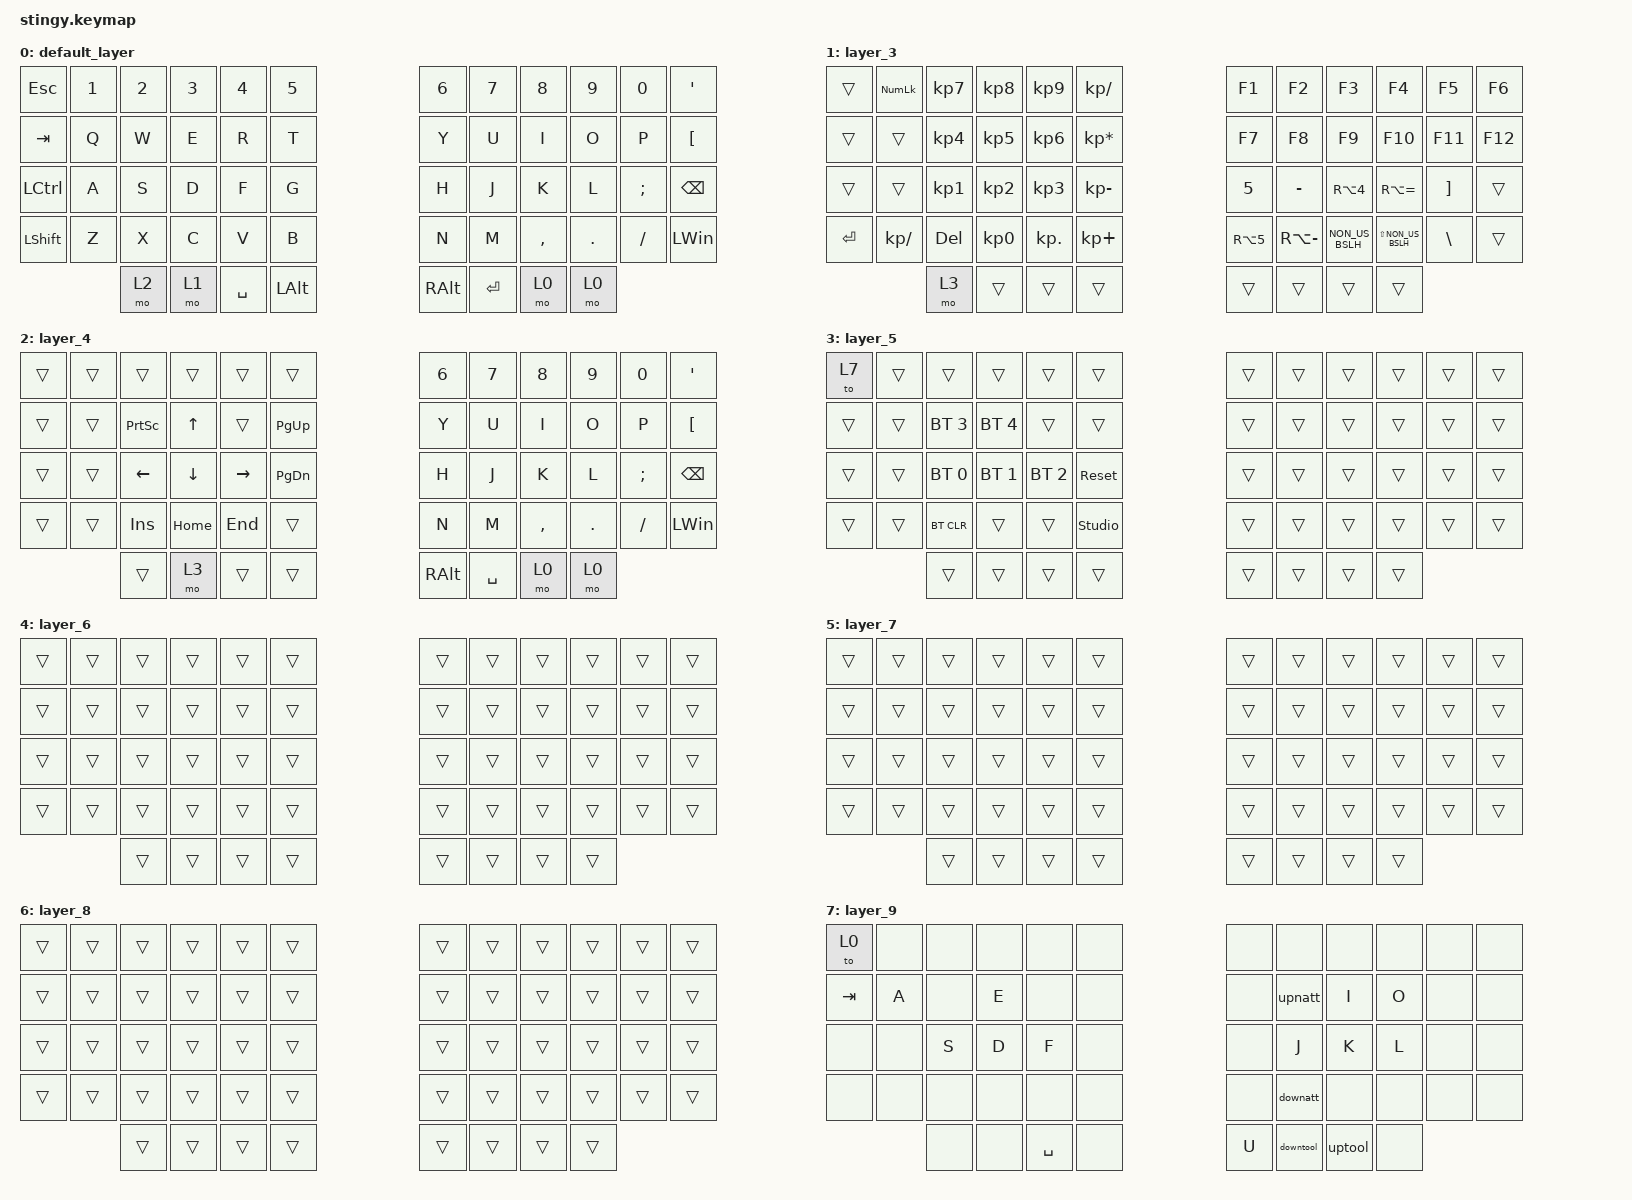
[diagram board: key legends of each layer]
#include <behaviors.dtsi>
#include <dt-bindings/zmk/bt.h>
#include <dt-bindings/zmk/keys.h>

/ {
    macros {
        uptool: uptool {
            compatible = "zmk,behavior-macro";
            #binding-cells = <0>;
            bindings = <&kp E &kp U>;
            label = "UPTOOL";
        };

        downtool: downtool {
            compatible = "zmk,behavior-macro";
            #binding-cells = <0>;
            bindings = <&kp D &kp O>;
            label = "DOWNTOOL";
        };

        upnatt: upatt {
            compatible = "zmk,behavior-macro";
            #binding-cells = <0>;
            bindings = <&kp E &kp J>;
            label = "DOWNATT";
        };

        downatt: downatt {
            compatible = "zmk,behavior-macro";
            #binding-cells = <0>;
            bindings = <&kp D &kp J>;
            label = "DOWNATT";
        };
    };

    keymap {
        compatible = "zmk,keymap";

        default_layer {
            bindings = <
&kp ESC           &kp N1  &kp N2  &kp N3  &kp N4     &kp N5      &kp N6    &kp N7     &kp N8     &kp N9   &kp N0         &kp SINGLE_QUOTE
&kp TAB           &kp Q   &kp W   &kp E   &kp R      &kp T       &kp Y     &kp U      &kp I      &kp O    &kp P          &kp LEFT_BRACKET
&kp LEFT_CONTROL  &kp A   &kp S   &kp D   &kp F      &kp G       &kp H     &kp J      &kp K      &kp L    &kp SEMICOLON  &kp BACKSPACE
&kp LEFT_SHIFT    &kp Z   &kp X   &kp C   &kp V      &kp B       &kp N     &kp M      &kp COMMA  &kp DOT  &kp SLASH      &kp LEFT_WIN
                          &mo 2   &mo 1   &kp SPACE  &kp LALT    &kp RALT  &kp ENTER  &mo 0      &mo 0
            >;
        };

        layer_3 {
            bindings = <
&trans     &kp KP_NUMLOCK  &kp KP_N7  &kp KP_N8  &kp KP_N9   &kp KP_DIVIDE      &kp F1      &kp F2         &kp F3            &kp F4               &kp F5             &kp F6
&trans     &trans          &kp KP_N4  &kp KP_N5  &kp KP_N6   &kp KP_MULTIPLY    &kp F7      &kp F8         &kp F9            &kp F10              &kp F11            &kp F12
&trans     &trans          &kp KP_N1  &kp KP_N2  &kp KP_N3   &kp KP_SUBTRACT    &kp N5      &kp MINUS      &kp RA(NUMBER_4)  &kp RA(EQUAL)        &kp RIGHT_BRACKET  &trans
&kp ENTER  &kp KP_SLASH    &kp DEL    &kp KP_N0  &kp KP_DOT  &kp KP_PLUS        &kp RA(N5)  &kp RA(MINUS)  &kp NON_US_BSLH   &kp LS(NON_US_BSLH)  &kp BACKSLASH      &trans
                           &mo 3      &trans     &trans      &trans             &trans      &trans         &trans            &trans
            >;
        };

        layer_4 {
            bindings = <
&trans  &trans  &trans           &trans        &trans     &trans           &kp N6    &kp N7     &kp N8     &kp N9   &kp N0         &kp SINGLE_QUOTE
&trans  &trans  &kp PRINTSCREEN  &kp UP_ARROW  &trans     &kp PAGE_UP      &kp Y     &kp U      &kp I      &kp O    &kp P          &kp LEFT_BRACKET
&trans  &trans  &kp LEFT         &kp DOWN      &kp RIGHT  &kp PAGE_DOWN    &kp H     &kp J      &kp K      &kp L    &kp SEMICOLON  &kp BACKSPACE
&trans  &trans  &kp INSERT       &kp HOME      &kp END    &trans           &kp N     &kp M      &kp COMMA  &kp DOT  &kp SLASH      &kp LEFT_WIN
                &trans           &mo 3         &trans     &trans           &kp RALT  &kp SPACE  &mo 0      &mo 0
            >;
        };

        layer_5 {
            bindings = <
&to 7   &trans  &trans        &trans        &trans        &trans            &trans  &trans  &trans  &trans  &trans  &trans
&trans  &trans  &bt BT_SEL 3  &bt BT_SEL 4  &trans        &trans            &trans  &trans  &trans  &trans  &trans  &trans
&trans  &trans  &bt BT_SEL 0  &bt BT_SEL 1  &bt BT_SEL 2  &sys_reset        &trans  &trans  &trans  &trans  &trans  &trans
&trans  &trans  &bt BT_CLR    &trans        &trans        &studio_unlock    &trans  &trans  &trans  &trans  &trans  &trans
                &trans        &trans        &trans        &trans            &trans  &trans  &trans  &trans
            >;
        };

        layer_6 {
            bindings = <
&trans  &trans  &trans  &trans  &trans  &trans    &trans  &trans  &trans  &trans  &trans  &trans
&trans  &trans  &trans  &trans  &trans  &trans    &trans  &trans  &trans  &trans  &trans  &trans
&trans  &trans  &trans  &trans  &trans  &trans    &trans  &trans  &trans  &trans  &trans  &trans
&trans  &trans  &trans  &trans  &trans  &trans    &trans  &trans  &trans  &trans  &trans  &trans
                &trans  &trans  &trans  &trans    &trans  &trans  &trans  &trans
            >;
        };

        layer_7 {
            bindings = <
&trans  &trans  &trans  &trans  &trans  &trans    &trans  &trans  &trans  &trans  &trans  &trans
&trans  &trans  &trans  &trans  &trans  &trans    &trans  &trans  &trans  &trans  &trans  &trans
&trans  &trans  &trans  &trans  &trans  &trans    &trans  &trans  &trans  &trans  &trans  &trans
&trans  &trans  &trans  &trans  &trans  &trans    &trans  &trans  &trans  &trans  &trans  &trans
                &trans  &trans  &trans  &trans    &trans  &trans  &trans  &trans
            >;
        };

        layer_8 {
            bindings = <
&trans  &trans  &trans  &trans  &trans  &trans    &trans  &trans  &trans  &trans  &trans  &trans
&trans  &trans  &trans  &trans  &trans  &trans    &trans  &trans  &trans  &trans  &trans  &trans
&trans  &trans  &trans  &trans  &trans  &trans    &trans  &trans  &trans  &trans  &trans  &trans
&trans  &trans  &trans  &trans  &trans  &trans    &trans  &trans  &trans  &trans  &trans  &trans
                &trans  &trans  &trans  &trans    &trans  &trans  &trans  &trans
            >;
        };

        layer_9 {
            bindings = <
&to 0    &none  &none  &none  &none      &none    &none  &none      &none    &none  &none  &none
&kp TAB  &kp A  &none  &kp E  &none      &none    &none  &upnatt    &kp I    &kp O  &none  &none
&none    &none  &kp S  &kp D  &kp F      &none    &none  &kp J      &kp K    &kp L  &none  &none
&none    &none  &none  &none  &none      &none    &none  &downatt   &none    &none  &none  &none
                &none  &none  &kp SPACE  &none    &kp U  &downtool  &uptool  &none
            >;
        };
    };
};
